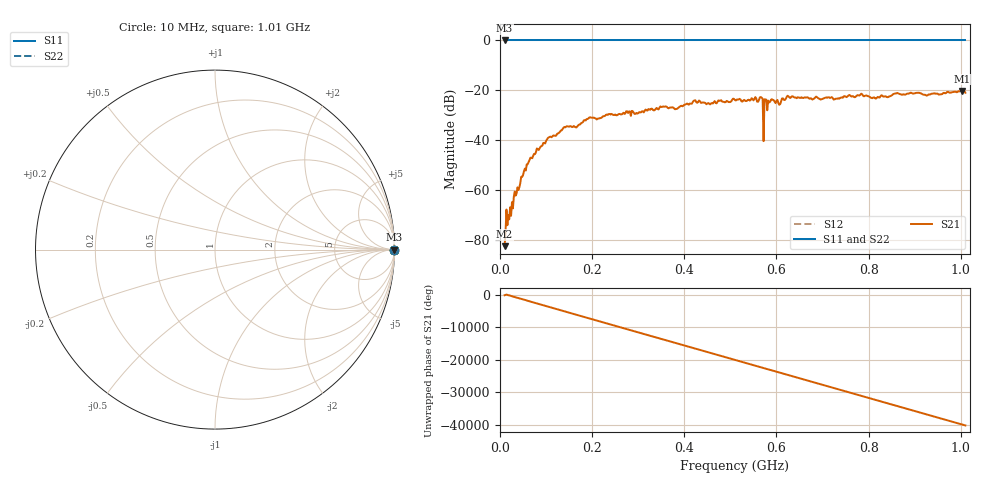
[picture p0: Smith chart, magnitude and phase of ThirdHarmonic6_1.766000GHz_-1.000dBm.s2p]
! 8/16/2025 9:19:48 PM
! C:\ANRITSUVNA\TEMP\TEMP.S2P
! CHANNEL.1
! TR.MEASUREMENT
! RAW.DATA
! RF.CORRECTION.OFF
! AVERAGING.OFF
! IF.BANDWIDTH: 5KHZ
! SWEEPTYPE:  FREQ.SWEEP(Linear)
! Reference Plane Port Info
! PORT:  PORT1  PORT2
! DISTANCE:  0  m  0  m
! TIME:  0  s  0  s
! PHASE.OFFSET:  0  deg.  0  deg.
! LOSS:  0  dB  0  dB
! REF.LOSS:  0  dB  0  dB
! REF.FREQ:  0  Hz  0  Hz
! Power Info
! POWER:  -20  dBm  -20  dBm
! EFF.POWER:  -20  dBm  -20  dBm
! SOURCE.ATTEN:  0  dB  0  dB
! TEST.ATTEN:  0  dB  0  dB
# GHZ S RI R 50.0
! FREQ.GHZ  S11RE  S11IM  S21RE  S21IM  S12RE  S12IM  S22RE  S22IM
!; PortSelection: Port_12
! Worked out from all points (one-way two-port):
!   501 points, 10 MHz to 1.01 GHz, reference 50 ohm
!   highest |S21| = -20.23 dB at 1.002 GHz (marker M1); lowest = -82.5 dB at 10 MHz (marker M2)
!   lowest |S11| = 0.0 dB at 10 MHz (marker M3)
!   |S11| at or under -10 dB: nowhere
!   |S22| runs from 0.0 to 0.0 dB; largest |S21 - S12| = 1.1
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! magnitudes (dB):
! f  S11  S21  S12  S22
! 10 MHz  0.0  -82.5  0.0  0.0
! 18 MHz  0.0  -70.1  0.0  0.0
! 20 MHz  0.0  -71.8  0.0  0.0
! 34 MHz  0.0  -62.3  0.0  0.0
! 64 MHz  0.0  -48.0  0.0  0.0
! 106 MHz  0.0  -38.9  0.0  0.0
! 142 MHz  0.0  -34.8  0.0  0.0
! 178 MHz  0.0  -33.0  0.0  0.0
! 196 MHz  0.0  -30.8  0.0  0.0
! 344 MHz  0.0  -27.7  0.0  0.0
! 382 MHz  0.0  -27.4  0.0  0.0
! 422 MHz  0.0  -24.1  0.0  0.0
! 510 MHz  0.0  -24.0  0.0  0.0
! 566 MHz  0.0  -22.7  0.0  0.0
! 568 MHz  0.0  -23.0  0.0  0.0
! 576 MHz  0.0  -23.7  0.0  0.0
! 578 MHz  0.0  -23.7  0.0  0.0
! 590 MHz  0.0  -23.6  0.0  0.0
! 678 MHz  0.0  -23.7  0.0  0.0
! 844 MHz  0.0  -22.5  0.0  0.0
! 1.002 GHz  0.0  -20.2  0.0  0.0
! 1.01 GHz  0.0  -21.0  0.0  0.0
